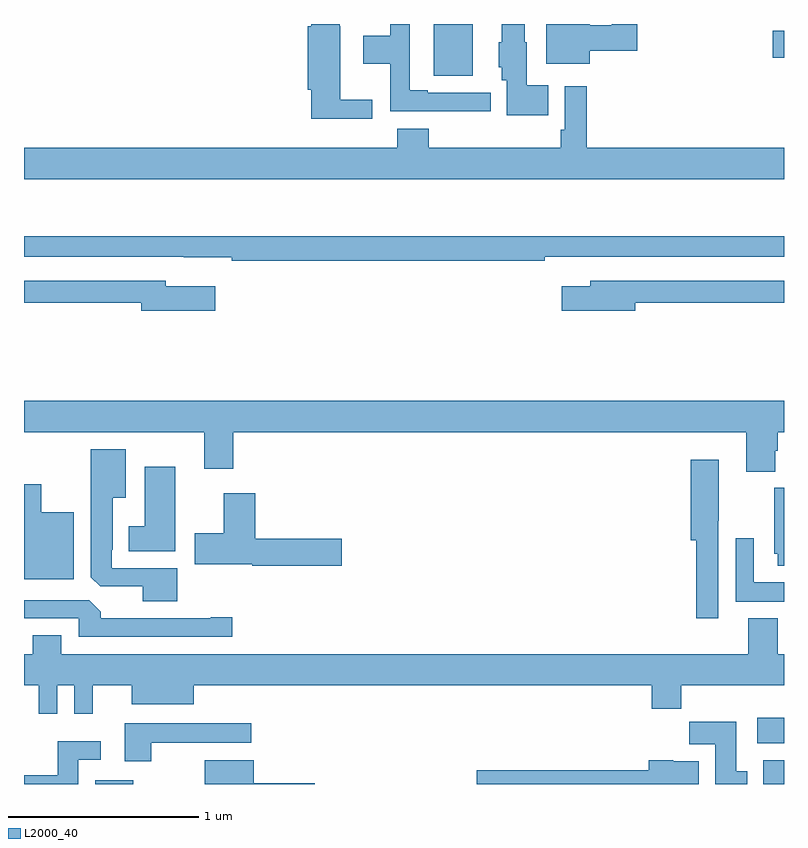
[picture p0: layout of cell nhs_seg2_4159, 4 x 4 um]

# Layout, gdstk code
import gdstk
lib = gdstk.Library(unit=1e-6, precision=1e-09)
def R(c, l, rs):  # rectangles x0, y0, x1, y1
    for r in rs: c.add(gdstk.rectangle(r[:2], r[2:], *l))
def P(c, l, *ps):  # polygons
    for p in ps: c.add(gdstk.Polygon(p, *l))
L2000_40 = (2000, 40)

nhs_seg2_4159 = lib.new_cell('nhs_seg2_4159')
R(nhs_seg2_4159, L2000_40, [(335.375,629.8,335.575,629.821), (338.891,629.8,339,629.926), (338.859,630.014,339,630.148), (337.157,633.527,337.363,633.8), (338.94,633.622,339,633.764)])
P(nhs_seg2_4159, L2000_40, [(337.76,633.478),(337.645,633.478),(337.645,633.705),(337.636,633.705),(337.636,633.8),(337.514,633.8),(337.514,633.705),(337.499,633.705),(337.499,633.573),(337.514,633.573),(337.514,633.504),(337.541,633.504),(337.541,633.32),(337.76,633.32)],
  [(337.456,633.438),(337.126,633.438),(337.126,633.451),(337.029,633.451),(337.029,633.8),(336.928,633.8),(336.928,633.738),(336.786,633.738),(336.786,633.59),(336.928,633.59),(336.928,633.342),(337.213,633.342),(337.213,633.341),(337.456,633.341)],
  [(337.978,633.659),(338.227,633.659),(338.227,633.8),(338.094,633.8),(338.094,633.793),(337.978,633.793),(337.978,633.8),(337.748,633.8),(337.748,633.59),(337.978,633.59)],
  [(336.832,633.401),(336.664,633.401),(336.664,633.789),(336.661,633.789),(336.661,633.8),(336.512,633.8),(336.512,633.789),(336.494,633.789),(336.494,633.453),(336.512,633.453),(336.512,633.302),(336.832,633.302)],
  [(339,633.148),(337.961,633.148),(337.961,633.472),(337.845,633.472),(337.845,633.244),(337.825,633.244),(337.825,633.148),(337.13,633.148),(337.13,633.25),(336.965,633.25),(336.965,633.148),(335,633.148),(335,632.984),(339,632.984)],
  [(337.742,632.574),(339,632.574),(339,632.683),(335,632.683),(335,632.574),(335.842,632.574),(335.842,632.573),(336.094,632.573),(336.094,632.554),(337.742,632.554)],
  [(338.218,632.332),(339,632.332),(339,632.448),(337.979,632.448),(337.979,632.419),(337.83,632.419),(337.83,632.29),(338.218,632.29)],
  [(336.007,632.419),(335.746,632.419),(335.746,632.448),(335,632.448),(335,632.332),(335.618,632.332),(335.618,632.29),(336.007,632.29)],
  [(338.953,631.553),(338.966,631.553),(338.966,631.652),(339,631.652),(339,631.816),(335,631.816),(335,631.652),(335.948,631.652),(335.948,631.458),(336.101,631.458),(336.101,631.652),(338.801,631.652),(338.801,631.444),(338.953,631.444)],
  [(335.807,630.936),(335.463,630.936),(335.463,631.033),(335.467,631.033),(335.467,631.307),(335.536,631.307),(335.536,631.561),(335.351,631.561),(335.351,630.889),(335.4,630.84),(335.624,630.84),(335.624,630.761),(335.807,630.761)],
  [(338.655,631.186),(338.656,631.186),(338.656,631.507),(338.51,631.507),(338.51,631.082),(338.539,631.082),(338.539,630.672),(338.655,630.672)],
  [(335.797,631.471),(335.636,631.471),(335.636,631.156),(335.552,631.156),(335.552,631.025),(335.797,631.025)],
  [(335.263,631.231),(335.092,631.231),(335.092,631.378),(335,631.378),(335,630.878),(335.263,630.878)],
  [(339,631.359),(338.948,631.359),(338.948,631.011),(338.966,631.011),(338.966,630.948),(339,630.948)],
  [(336.673,631.091),(336.218,631.091),(336.218,631.33),(336.05,631.33),(336.05,631.119),(335.898,631.119),(335.898,630.956),(336.201,630.956),(336.201,630.949),(336.673,630.949)],
  [(339,630.862),(338.841,630.862),(338.841,631.093),(338.745,631.093),(338.745,630.758),(339,630.758)],
  [(336.097,630.677),(335.984,630.677),(335.984,630.672),(335.405,630.672),(335.405,630.706),(335.343,630.768),(335,630.768),(335,630.672),(335.289,630.672),(335.289,630.576),(336.097,630.576)],
  [(335.045,630.484),(335,630.484),(335,630.32),(335.078,630.32),(335.078,630.171),(335.175,630.171),(335.175,630.32),(335.265,630.32),(335.265,630.171),(335.363,630.171),(335.363,630.32),(335.567,630.32),(335.567,630.221),(335.893,630.221),(335.893,630.32),(338.303,630.32),(338.303,630.196),(338.459,630.196),(338.459,630.32),(339,630.32),(339,630.484),(338.966,630.484),(338.966,630.673),(338.813,630.673),(338.813,630.484),(335.197,630.484),(335.197,630.583),(335.045,630.583)],
  [(338.806,629.868),(338.749,629.868),(338.749,630.127),(338.5,630.127),(338.5,630.008),(338.639,630.008),(338.639,629.8),(338.806,629.8)],
  [(335.671,630.017),(336.196,630.017),(336.196,630.121),(335.531,630.121),(335.531,629.919),(335.671,629.919)],
  [(335.286,629.928),(335.404,629.928),(335.404,630.025),(335.178,630.025),(335.178,629.847),(335,629.847),(335,629.8),(335.286,629.8)],
  [(336.53,629.804),(336.208,629.804),(336.208,629.926),(335.951,629.926),(335.951,629.8),(336.53,629.8)],
  [(338.551,629.92),(338.418,629.92),(338.418,629.926),(338.288,629.926),(338.288,629.872),(337.382,629.872),(337.382,629.8),(338.551,629.8)])

lib.write_gds('nhs_seg2_4159.gds')
